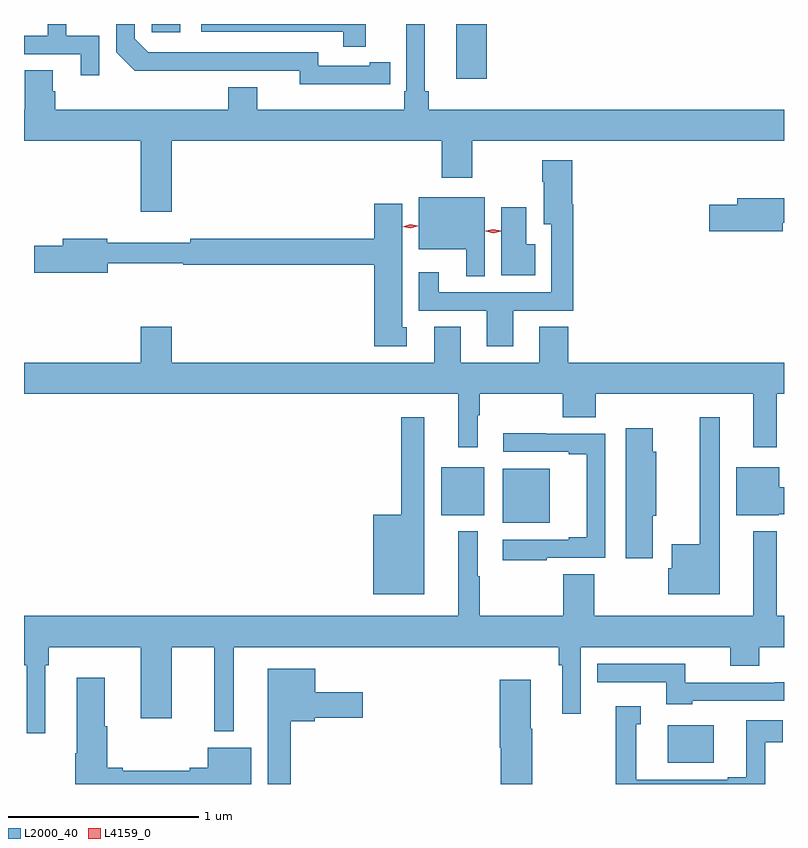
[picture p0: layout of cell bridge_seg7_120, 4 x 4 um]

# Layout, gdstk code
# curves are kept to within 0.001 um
import gdstk
lib = gdstk.Library(unit=1e-6, precision=1e-09)
def R(c, l, rs):  # rectangles x0, y0, x1, y1
    for r in rs: c.add(gdstk.rectangle(r[:2], r[2:], *l))
def P(c, l, *ps):  # polygons
    for p in ps: c.add(gdstk.Polygon(p, *l))
L2000_40 = (2000, 40)
L4159_0 = (4159, 0)

bridge_seg7_120 = lib.new_cell('bridge_seg7_120')
R(bridge_seg7_120, L2000_40, [(803.147,1054.619,803.389,1054.816), (802.277,1055.882,802.525,1056.166), (801.953,1055.921,802.18,1056.175), (802.034,1058.22,802.193,1058.507), (800.43,1058.463,800.581,1058.507)])
P(bridge_seg7_120, L2000_40, [(800.536,1057.892),(801.956,1057.892),(801.956,1057.698),(802.116,1057.698),(802.116,1057.892),(803.758,1057.892),(803.758,1058.056),(801.887,1058.056),(801.887,1058.152),(801.868,1058.152),(801.868,1058.507),(801.771,1058.507),(801.771,1058.152),(801.758,1058.152),(801.758,1058.056),(800.986,1058.056),(800.986,1058.173),(800.834,1058.173),(800.834,1058.056),(799.922,1058.056),(799.922,1058.154),(799.909,1058.154),(799.909,1058.264),(799.762,1058.264),(799.762,1058.056),(799.758,1058.056),(799.758,1057.892),(800.372,1057.892),(800.372,1057.518),(800.536,1057.518)],
  [(801.557,1058.507),(800.691,1058.507),(800.691,1058.466),(801.439,1058.466),(801.439,1058.388),(801.557,1058.388)],
  [(800.154,1058.445),(799.98,1058.445),(799.98,1058.507),(799.884,1058.507),(799.884,1058.445),(799.758,1058.445),(799.758,1058.349),(800.057,1058.349),(800.057,1058.238),(800.154,1058.238)],
  [(801.578,1058.19),(801.686,1058.19),(801.686,1058.306),(801.578,1058.306),(801.578,1058.286),(801.306,1058.286),(801.306,1058.358),(800.412,1058.358),(800.34,1058.43),(800.34,1058.507),(800.244,1058.507),(800.244,1058.358),(800.342,1058.261),(801.21,1058.262),(801.21,1058.189)],
  [(802.333,1056.999),(802.649,1056.999),(802.649,1057.558),(802.643,1057.558),(802.643,1057.789),(802.486,1057.789),(802.486,1057.676),(802.493,1057.676),(802.493,1057.454),(802.533,1057.454),(802.533,1057.095),(801.94,1057.095),(801.94,1057.201),(801.836,1057.201),(801.836,1056.999),(802.193,1056.999),(802.193,1056.81),(802.333,1056.81)],
  [(802.182,1057.394),(802.183,1057.394),(802.183,1057.594),(801.836,1057.594),(801.836,1057.322),(802.085,1057.322),(802.085,1057.18),(802.182,1057.18)],
  [(803.752,1057.462),(803.758,1057.462),(803.758,1057.591),(803.513,1057.591),(803.513,1057.557),(803.364,1057.557),(803.364,1057.415),(803.752,1057.415)],
  [(801.772,1056.912),(801.748,1056.912),(801.748,1057.561),(801.602,1057.561),(801.602,1057.376),(800.632,1057.376),(800.632,1057.357),(800.196,1057.357),(800.196,1057.376),(799.961,1057.376),(799.961,1057.34),(799.812,1057.34),(799.812,1057.198),(800.2,1057.198),(800.2,1057.248),(800.596,1057.248),(800.596,1057.24),(801.602,1057.24),(801.602,1056.81),(801.772,1056.81)],
  [(802.448,1057.349),(802.402,1057.349),(802.402,1057.543),(802.271,1057.543),(802.271,1057.184),(802.448,1057.184)],
  [(802.147,1056.448),(802.157,1056.448),(802.157,1056.56),(802.594,1056.56),(802.594,1056.436),(802.766,1056.436),(802.766,1056.56),(803.597,1056.56),(803.597,1056.279),(803.719,1056.279),(803.719,1056.56),(803.758,1056.56),(803.758,1056.724),(802.622,1056.724),(802.622,1056.914),(802.469,1056.914),(802.469,1056.724),(802.057,1056.724),(802.057,1056.914),(801.917,1056.914),(801.917,1056.724),(800.536,1056.724),(800.536,1056.913),(800.372,1056.913),(800.372,1056.724),(799.758,1056.724),(799.758,1056.56),(802.043,1056.56),(802.043,1056.279),(802.147,1056.279)],
  [(801.865,1056.436),(801.744,1056.436),(801.744,1055.923),(801.596,1055.923),(801.596,1055.507),(801.865,1055.507)],
  [(803.419,1056.436),(803.315,1056.436),(803.315,1055.77),(803.168,1055.77),(803.168,1055.643),(803.15,1055.643),(803.15,1055.507),(803.419,1055.507)],
  [(803.068,1055.919),(803.086,1055.919),(803.086,1056.255),(803.068,1056.255),(803.068,1056.379),(802.925,1056.379),(802.925,1055.694),(803.068,1055.694)],
  [(802.508,1055.697),(802.818,1055.697),(802.818,1056.351),(802.505,1056.351),(802.505,1056.353),(802.281,1056.353),(802.281,1056.255),(802.625,1056.255),(802.625,1056.243),(802.721,1056.243),(802.721,1055.806),(802.625,1055.806),(802.625,1055.793),(802.278,1055.793),(802.278,1055.685),(802.508,1055.685)],
  [(803.73,1055.927),(803.758,1055.927),(803.758,1056.069),(803.734,1056.069),(803.734,1056.175),(803.507,1056.175),(803.507,1055.921),(803.73,1055.921)],
  [(802.573,1055.132),(802.592,1055.132),(802.592,1054.878),(802.689,1054.878),(802.689,1055.228),(803.474,1055.228),(803.474,1055.129),(803.627,1055.129),(803.627,1055.228),(803.758,1055.228),(803.758,1055.392),(803.719,1055.392),(803.719,1055.836),(803.597,1055.836),(803.597,1055.392),(802.758,1055.392),(802.758,1055.612),(802.597,1055.612),(802.597,1055.392),(802.157,1055.392),(802.157,1055.6),(802.147,1055.6),(802.147,1055.836),(802.043,1055.836),(802.043,1055.392),(799.758,1055.392),(799.758,1055.228),(799.76,1055.228),(799.76,1055.132),(799.773,1055.132),(799.773,1054.773),(799.87,1054.773),(799.87,1055.132),(799.889,1055.132),(799.889,1055.228),(800.372,1055.228),(800.372,1054.854),(800.536,1054.854),(800.536,1055.228),(800.759,1055.228),(800.759,1054.784),(800.863,1054.784),(800.863,1055.228),(802.573,1055.228)],
  [(803.274,1054.944),(803.758,1054.944),(803.758,1055.042),(803.71,1055.042),(803.71,1055.04),(803.238,1055.04),(803.238,1055.139),(802.774,1055.139),(802.774,1055.043),(803.138,1055.043),(803.138,1054.928),(803.274,1054.928)],
  [(801.163,1054.838),(801.288,1054.838),(801.288,1054.856),(801.541,1054.856),(801.541,1054.99),(801.292,1054.99),(801.292,1055.113),(801.041,1055.113),(801.041,1054.507),(801.163,1054.507)],
  [(800.953,1054.699),(800.726,1054.699),(800.726,1054.592),(800.63,1054.592),(800.63,1054.577),(800.278,1054.577),(800.278,1054.592),(800.195,1054.592),(800.195,1054.811),(800.182,1054.811),(800.182,1055.065),(800.036,1055.065),(800.036,1054.669),(800.029,1054.669),(800.029,1054.507),(800.953,1054.507)],
  [(802.434,1054.798),(802.426,1054.798),(802.426,1055.056),(802.262,1055.056),(802.262,1054.698),(802.268,1054.698),(802.268,1054.507),(802.434,1054.507)],
  [(803.658,1054.726),(803.752,1054.726),(803.752,1054.842),(803.558,1054.842),(803.558,1054.543),(803.462,1054.543),(803.462,1054.53),(802.981,1054.53),(802.981,1054.821),(803.005,1054.821),(803.005,1054.915),(802.872,1054.915),(802.872,1054.507),(803.658,1054.507)])
P(bridge_seg7_120, L4159_0, [(802.228,1057.407),(802.188,1057.417),(802.188,1057.417),(802.188,1057.418),(802.228,1057.427),(802.269,1057.418),(802.269,1057.417),(802.269,1057.417)],
  [(801.792,1057.432),(801.752,1057.44),(801.752,1057.44),(801.752,1057.44),(801.791,1057.452),(801.831,1057.444),(801.831,1057.443),(801.831,1057.443)])

lib.write_gds('bridge_seg7_120.gds')
